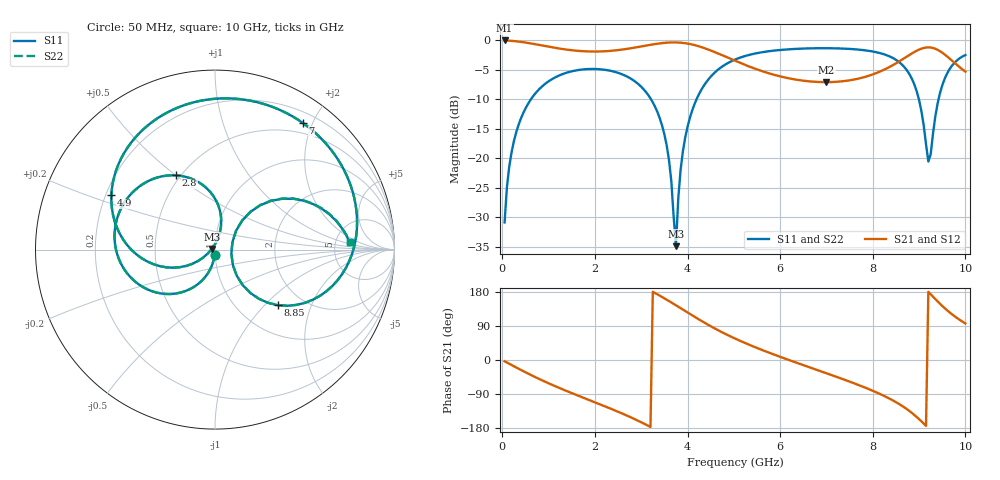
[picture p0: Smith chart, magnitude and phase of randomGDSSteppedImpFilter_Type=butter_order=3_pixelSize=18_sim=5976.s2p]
! freq	dB(S11)	phase(S11)	dB(S12)	phase(S12)
!  dB(S21)	phase(S21)	dB(S22)	phase(S22)
!S-par simulation data
#  GHz  S  DB  R 50
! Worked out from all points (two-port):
!   200 points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, 50 MHz to 10 GHz, reference 50 ohm
!   highest |S21| = -0.01 dB at 50 MHz (marker M1); lowest = -7.1 dB at 7 GHz (marker M2)
!   |S21| within 3 dB of the highest: start of sweep to 4.893 GHz; 8.683 GHz to 9.648 GHz (965.8 MHz wide, 10.5 % of centre)
!   lowest |S11| = -34.9 dB at 3.75 GHz (marker M3), VSWR 1.04, Z = 48.3 + j0.392 ohm
!   |S11| at or under -10 dB: start of sweep to 618.6 MHz; 3.211 GHz to 4.195 GHz (983.3 MHz wide, 26.6 % of centre); 8.996 GHz to 9.421 GHz (424.8 MHz wide, 4.61 % of centre)
!   |S22| runs from -35.1 to -1.3 dB; largest |S21 - S12| = 0
!   S11 on the Smith chart (normalised r, x): 50 MHz: 0.99, -0.06; 2.8 GHz: 0.47, +0.50; 4.9 GHz: 0.22, +0.23; 7 GHz: 0.35, +1.86; 8.85 GHz: 1.51, -1.20; 10 GHz: 6.81, +1.25
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0.05  -30.90 -93.5  -0.01 -3.4  -0.01 -3.4  -30.90 -93.5
0.2  -18.99 -103.6  -0.08 -13.2  -0.08 -13.2  -18.99 -103.6
0.5  -11.56 -122.8  -0.36 -32.3  -0.36 -32.3  -11.56 -122.8
1.05  -6.69 -154.7  -1.14 -64.2  -1.14 -64.2  -6.69 -154.7
1.75  -4.92 170.0  -1.84 -99.6  -1.84 -99.6  -4.92 170.0
2.8  -6.61 117.7  -1.30 -152.7  -1.30 -152.7  -6.61 117.6
3.4  -13.21 82.8  -0.50 169.8  -0.50 169.8  -13.21 82.7
3.6  -20.32 74.2  -0.36 155.5  -0.36 155.5  -20.33 73.9
3.75  -34.93 166.9  -0.34 144.4  -0.34 144.4  -35.12 167.5
3.85  -21.99 -146.1  -0.38 136.8  -0.38 136.8  -22.00 -145.8
4.05  -13.16 -153.5  -0.61 121.6  -0.61 121.6  -13.16 -153.4
4.9  -3.72 152.3  -3.03 63.8  -3.03 63.8  -3.72 152.3
5.05  -3.17 143.9  -3.54 55.2  -3.54 55.2  -3.17 144.0
5.85  -1.74 104.6  -5.79 15.2  -5.79 15.2  -1.74 104.7
6.7  -1.34 67.9  -7.00 -22.1  -7.00 -22.1  -1.34 67.9
7  -1.32 55.3  -7.09 -35.0  -7.09 -35.0  -1.32 55.3
7.75  -1.60 22.5  -6.37 -68.7  -6.37 -68.7  -1.60 22.5
8.35  -2.67 -8.2  -4.55 -101.2  -4.55 -101.2  -2.67 -8.1
8.85  -6.61 -41.5  -2.18 -140.2  -2.18 -140.2  -6.61 -41.4
9.2  -20.57 -12.9  -1.18 179.9  -1.18 179.9  -20.62 -12.9
9.5  -7.64 40.9  -2.08 142.7  -2.08 142.7  -7.64 41.1
10  -2.48 3.0  -5.30 96.4  -5.30 96.4  -2.48 3.3
